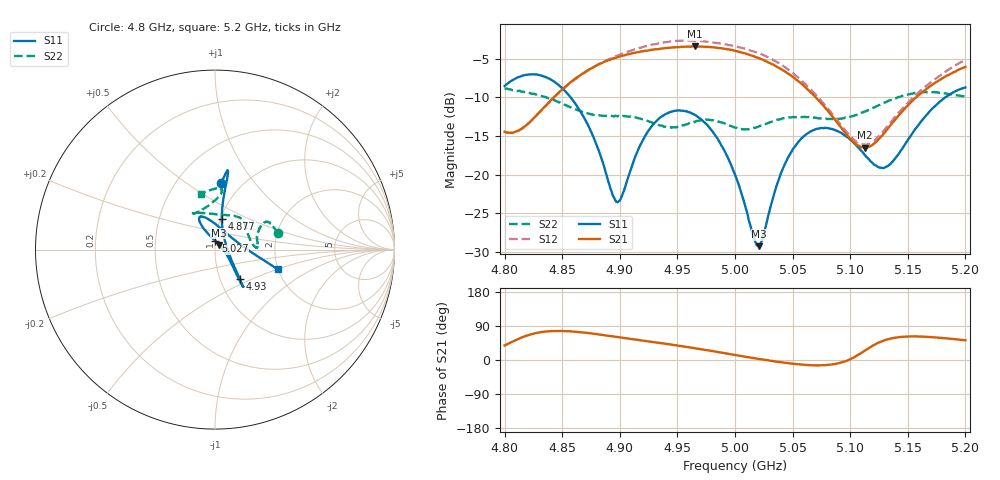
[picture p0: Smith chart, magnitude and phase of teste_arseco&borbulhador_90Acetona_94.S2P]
! Network Analyzer HP8722D
! Hewlett-Packard
! Data name: Linha & Wilkinson
! Saver's name: Rodrigo Anjos
! Comments: Teste da utilização de aquisição
! continua pelo VNA HP8722D
! Time and date: 17/4/2025 11:50
!  Frequency  S11  S21  S12  S22
# HZ  S  MA R 50
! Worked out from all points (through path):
!   401 points, 4.8 GHz to 5.2 GHz, reference 50 ohm
!   highest |S21| = -3.39 dB at 4.965 GHz (marker M1); lowest = -16.5 dB at 5.113 GHz (marker M2)
!   lowest |S11| = -29.2 dB at 5.021 GHz (marker M3), VSWR 1.07, Z = 52.2 + j2.74 ohm
!   |S11| at or under -10 dB: 4.857 GHz to 5.182 GHz (325.1 MHz wide, 6.48 % of centre)
!   |S22| runs from -14.1 to -8.9 dB; largest |S21 - S12| = 0.24
!   S11 on the Smith chart (normalised r, x): 4.8 GHz: 0.80, +0.70; 4.877 GHz: 1.02, +0.36; 4.93 GHz: 1.24, -0.43; 5.027 GHz: 1.00, +0.09; 5.2 GHz: 1.99, -0.50
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4.8e9  0.375 84.8  0.1897 38.4  0.1893 -1.2  0.3601 14.6
4.814e9  0.4324 81.8  0.1971 58.5  0.1957 19.6  0.3457 23.4
4.835e9  0.4304 80.3  0.2767 75.0  0.2754 38.4  0.319 28.7
4.867e9  0.2477 80.3  0.4478 73.0  0.4442 43.0  0.2557 21.4
4.877e9  0.1762 77.3  0.4969 69.4  0.4943 42.2  0.2438 16.8
4.898e9  0.06634 17.9  0.5757 60.6  0.5896 38.9  0.2387 7.2
4.917e9  0.1513 -42.7  0.6229 52.5  0.6615 35.0  0.231 2.4
4.93e9  0.2154 -49.8  0.6471 46.9  0.696 31.2  0.2142 7.0
4.934e9  0.2309 -51.2  0.65 45.2  0.7102 29.9  0.2092 9.5
4.965e9  0.2441 -52.7  0.6772 31.1  0.7351 18.2  0.2186 41.4
4.983e9  0.1796 -48.5  0.6649 22.2  0.7153 11.4  0.2222 54.4
5e9  0.1002 -35.4  0.6333 13.2  0.6789 5.0  0.2022 72.6
5.017e9  0.03774 18.4  0.5807 4.8  0.6239 -1.3  0.2008 96.5
5.021e9  0.03448 49.4  0.5669 2.9  0.6093 -2.9  0.2064 101.4
5.027e9  0.04726 87.0  0.5423 -0.2  0.5851 -5.0  0.2137 107.5
5.045e9  0.1241 117.6  0.4571 -7.9  0.4859 -11.1  0.2337 118.7
5.067e9  0.1925 117.5  0.3351 -13.8  0.349 -13.6  0.234 121.0
5.09e9  0.1898 108.1  0.2114 -8.3  0.2188 -3.9  0.2289 111.2
5.113e9  0.1333 84.1  0.1495 25.3  0.1566 32.6  0.256 95.2
5.134e9  0.116 32.6  0.2045 55.7  0.2133 66.0  0.3015 85.0
5.171e9  0.2668 -11.4  0.3815 60.1  0.4007 78.0  0.3418 87.2
5.2e9  0.3669 -17.3  0.4988 52.0  0.5567 75.8  0.3193 104.6
